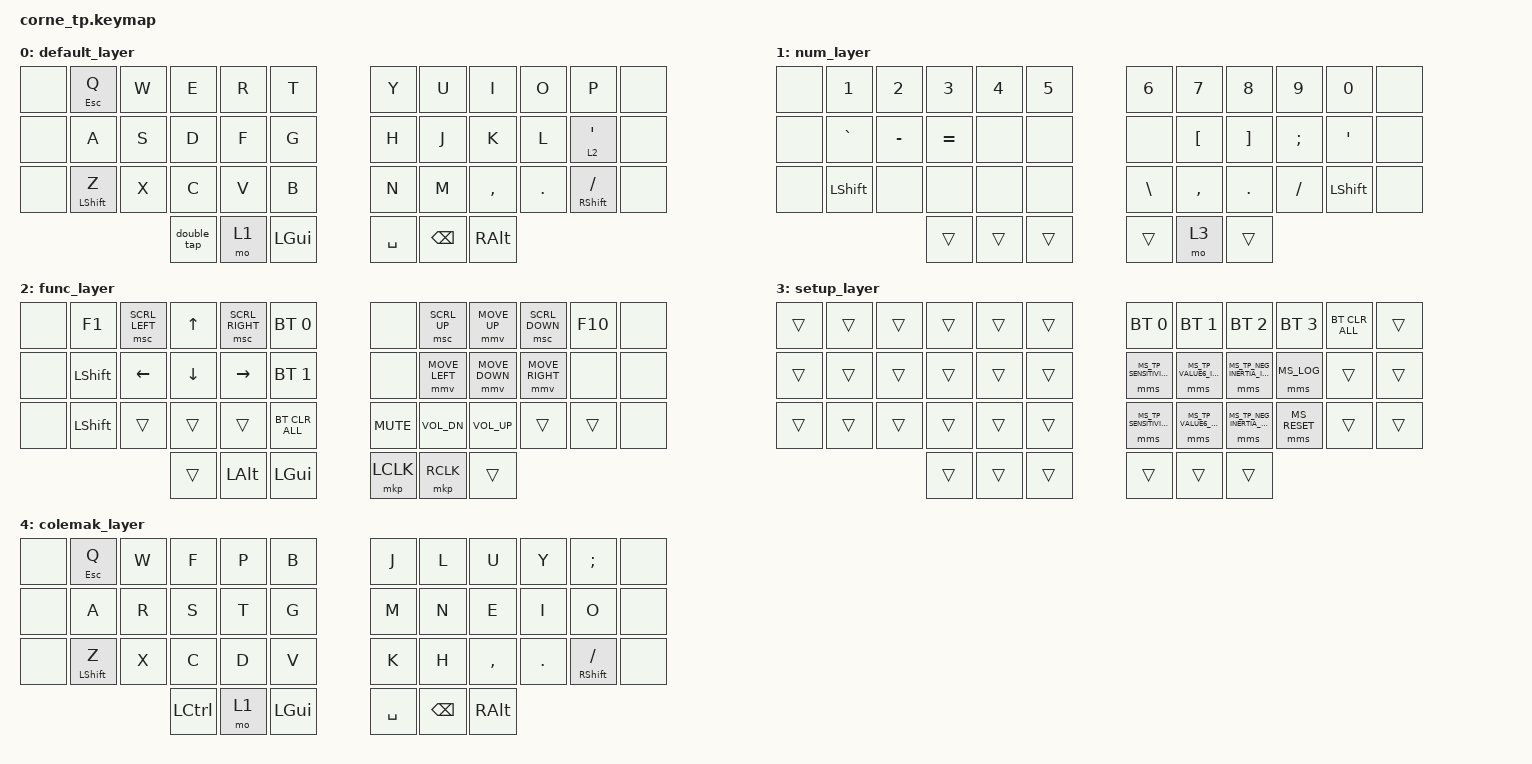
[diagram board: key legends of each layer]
/*
 * Copyright (c) 2020 The ZMK Contributors
 *
 * SPDX-License-Identifier: MIT
 */

#define ZMK_MOUSE_DEFAULT_MOVE_VAL 1500  // 600
#define HAS_MOUSE_KEYS
#define HAS_MOUSE_TP

#ifdef HAS_MOUSE_KEYS

#include <dt-bindings/zmk/mouse.h>
#include <behaviors/mouse_keys.dtsi>

#endif  // HAS_MOUSE_KEYS

#ifdef HAS_MOUSE_TP

// We store the trackpoint settings in a separate file
// to make organization a little easier.

#include "include/mouse_tp.dtsi"

#endif

#include <dt-bindings/zmk/mouse.h>
#include <behaviors.dtsi>
#include <dt-bindings/zmk/bt.h>
#include <dt-bindings/zmk/keys.h>
#include <dt-bindings/zmk/pointing.h>

// LAYERS

#define DEFAULT 0
#define NUM     1
#define SYM     2
#define FUNC    3

// MACROS

#define SUPER LC(LSHIFT)
#define SUPER2 LA(LC(LSHIFT))

&mt {
    tapping-term-ms = <200>;
    flavor = "hold-preferred";
};

&msc {
    time-to-max-speed-ms = <50>;
    acceleration-exponent = <1>;
};

&mmv { acceleration-exponent = <1>; };

/ {
    behaviors {
        hm: homerow_mods {
            compatible = "zmk,behavior-hold-tap";
            label = "HOMEROW_MODS";
            #binding-cells = <2>;
            tapping-term-ms = <200>;
            quick-tap-ms = <0>;
            flavor = "tap-preferred";
            bindings = <&kp>, <&kp>;
        };

        double_tap: double_tap {
            compatible = "zmk,behavior-tap-dance";
            label = "DOUBLE_TAP";
            #binding-cells = <0>;
            bindings = <&kp LCTRL>, <&kp LEFT_ALT>;
        };
    };

    combos {
        compatible = "zmk,combos";

        combo_tilde {
            bindings = <&kp GRAVE>;
            key-positions = <2 1>;
        };

        combo_tab {
            bindings = <&kp TAB>;
            key-positions = <14 15>;
        };

        combo_enter {
            bindings = <&kp ENTER>;
            key-positions = <21 20>;
        };

        settings_layer {
            bindings = <&mo 3>;
            key-positions = <13 14 15 16 17>;
        };

        colemak_layer_tog {
            bindings = <&tog 4>;
            key-positions = <30 6 10 34>;
        };
    };

    keymap {
        compatible = "zmk,keymap";

        default_layer {
            bindings = <
&none  &hm ESC Q         &kp W  &kp E        &kp R  &kp T     &kp Y      &kp U          &kp I          &kp O    &kp P                  &none
&none  &kp A             &kp S  &kp D        &kp F  &kp G     &kp H      &kp J          &kp K          &kp L    &lt 2 SQT              &none
&none  &hm LEFT_SHIFT Z  &kp X  &kp C        &kp V  &kp B     &kp N      &kp M          &kp COMMA      &kp DOT  &mt RIGHT_SHIFT SLASH  &none
                                &double_tap  &mo 1  &kp LGUI  &kp SPACE  &kp BACKSPACE  &kp RIGHT_ALT
            >;
        };

        num_layer {
            bindings = <
&none  &kp NUMBER_1    &kp NUMBER_2  &kp NUMBER_3  &kp NUMBER_4  &kp N5  &kp NUMBER_6   &kp N7            &kp N8             &kp N9     &kp N0          &none
&none  &kp GRAVE       &kp MINUS     &kp EQUAL     &none         &none   &none          &kp LEFT_BRACKET  &kp RIGHT_BRACKET  &kp SEMI   &kp SQT         &none
&none  &kp LEFT_SHIFT  &none         &none         &none         &none   &kp BACKSLASH  &kp COMMA         &kp PERIOD         &kp SLASH  &kp LEFT_SHIFT  &none
                                     &trans        &trans        &trans  &trans         &mo 3             &trans
            >;
        };

        func_layer {
            bindings = <
&none  &kp F1          &msc SCRL_LEFT  &kp UP_ARROW    &msc SCRL_RIGHT  &bt BT_SEL 0    &none       &msc SCRL_UP    &mmv MOVE_UP     &msc SCRL_DOWN   &kp F10  &none
&none  &kp LEFT_SHIFT  &kp LEFT_ARROW  &kp DOWN_ARROW  &kp RIGHT_ARROW  &bt BT_SEL 1    &none       &mmv MOVE_LEFT  &mmv MOVE_DOWN   &mmv MOVE_RIGHT  &none    &none
&none  &kp LEFT_SHIFT  &trans          &trans          &trans           &bt BT_CLR_ALL  &kp C_MUTE  &kp C_VOL_DN    &kp C_VOLUME_UP  &trans           &trans   &none
                                       &trans          &kp LEFT_ALT     &kp LGUI        &mkp LCLK   &mkp RCLK       &trans
            >;
        };

        setup_layer {
            bindings = <
&trans  &trans  &trans  &trans  &trans  &trans  &bt BT_SEL 0                 &bt BT_SEL 1            &bt BT_SEL 2                 &bt BT_SEL 3   &bt BT_CLR_ALL  &trans
&trans  &trans  &trans  &trans  &trans  &trans  &mms MS_TP_SENSITIVITY_INCR  &mms MS_TP_VALUE6_INCR  &mms MS_TP_NEG_INERTIA_INCR  &mms MS_LOG    &trans          &trans
&trans  &trans  &trans  &trans  &trans  &trans  &mms MS_TP_SENSITIVITY_DECR  &mms MS_TP_VALUE6_DECR  &mms MS_TP_NEG_INERTIA_DECR  &mms MS_RESET  &trans          &trans
                        &trans  &trans  &trans  &trans                       &trans                  &trans
            >;
        };

        colemak_layer {
            bindings = <
&none  &hm ESC Q         &kp W  &kp F             &kp P  &kp B     &kp J      &kp L          &kp U          &kp Y    &kp SEMICOLON          &none
&none  &kp A             &kp R  &kp S             &kp T  &kp G     &kp M      &kp N          &kp E          &kp I    &kp O                  &none
&none  &hm LEFT_SHIFT Z  &kp X  &kp C             &kp D  &kp V     &kp K      &kp H          &kp COMMA      &kp DOT  &mt RIGHT_SHIFT SLASH  &none
                                &kp LEFT_CONTROL  &mo 1  &kp LGUI  &kp SPACE  &kp BACKSPACE  &kp RIGHT_ALT
            >;
        };
    };
};
